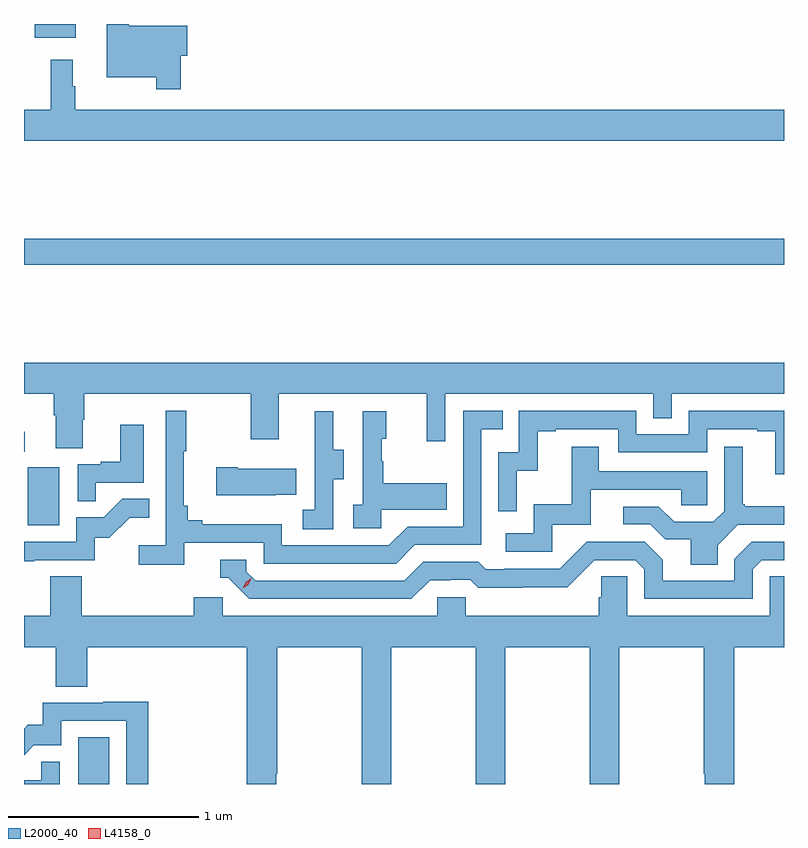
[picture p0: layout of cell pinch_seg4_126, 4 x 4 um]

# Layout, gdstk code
import gdstk
lib = gdstk.Library(unit=1e-6, precision=1e-09)
def R(c, l, rs):  # rectangles x0, y0, x1, y1
    for r in rs: c.add(gdstk.rectangle(r[:2], r[2:], *l))
def P(c, l, *ps):  # polygons
    for p in ps: c.add(gdstk.Polygon(p, *l))
L2000_40 = (2000, 40)
L4158_0 = (4158, 0)

pinch_seg4_126 = lib.new_cell('pinch_seg4_126')
R(pinch_seg4_126, L2000_40, [(1046.036,798.763,1046.2,799.009), (1045.772,800.124,1045.936,800.431), (1045.751,800.511,1045.756,800.617), (1045.751,801.496,1049.751,801.632), (1045.808,802.691,1046.023,802.763)])
P(pinch_seg4_126, L2000_40, [(1046.576,802.595),(1046.611,802.595),(1046.611,802.753),(1046.303,802.753),(1046.303,802.763),(1046.186,802.763),(1046.186,802.484),(1046.448,802.484),(1046.448,802.419),(1046.576,802.419)],
  [(1049.751,802.312),(1046.02,802.312),(1046.02,802.436),(1046.008,802.436),(1046.008,802.576),(1045.891,802.576),(1045.891,802.312),(1045.751,802.312),(1045.751,802.148),(1049.751,802.148)],
  [(1045.751,800.816),(1045.907,800.816),(1045.907,800.704),(1045.919,800.704),(1045.919,800.53),(1046.059,800.53),(1046.059,800.679),(1046.067,800.679),(1046.067,800.816),(1046.944,800.816),(1046.944,800.577),(1047.091,800.577),(1047.091,800.816),(1047.872,800.816),(1047.872,800.568),(1047.969,800.568),(1047.969,800.816),(1049.064,800.816),(1049.064,800.689),(1049.16,800.689),(1049.16,800.816),(1049.751,800.816),(1049.751,800.98),(1045.751,800.98)],
  [(1046.594,800.034),(1047.012,800.034),(1047.012,799.923),(1047.709,799.923),(1047.808,800.022),(1048.158,800.022),(1048.158,800.631),(1048.271,800.631),(1048.271,800.727),(1048.062,800.727),(1048.062,800.118),(1047.771,800.118),(1047.672,800.019),(1047.108,800.019),(1047.108,800.131),(1046.689,800.131),(1046.689,800.15),(1046.612,800.15),(1046.612,800.227),(1046.593,800.227),(1046.593,800.515),(1046.605,800.515),(1046.605,800.728),(1046.496,800.728),(1046.496,800.02),(1046.355,800.02),(1046.355,799.918),(1046.594,799.918)],
  [(1048.344,800.411),(1048.454,800.411),(1048.454,800.619),(1048.549,800.619),(1048.549,800.631),(1048.878,800.631),(1048.878,800.508),(1049.346,800.508),(1049.346,800.631),(1049.609,800.631),(1049.609,800.619),(1049.705,800.619),(1049.705,800.393),(1049.751,800.393),(1049.751,800.727),(1049.25,800.727),(1049.25,800.604),(1048.974,800.604),(1048.974,800.727),(1048.356,800.727),(1048.356,800.508),(1048.248,800.508),(1048.248,800.199),(1048.344,800.199)],
  [(1047.378,800.368),(1047.433,800.368),(1047.433,800.523),(1047.379,800.523),(1047.379,800.725),(1047.281,800.725),(1047.281,800.511),(1047.282,800.511),(1047.282,800.207),(1047.219,800.207),(1047.219,800.104),(1047.378,800.104)],
  [(1047.63,800.207),(1047.977,800.207),(1047.977,800.347),(1047.643,800.347),(1047.643,800.462),(1047.633,800.462),(1047.633,800.58),(1047.658,800.58),(1047.658,800.725),(1047.534,800.725),(1047.534,800.234),(1047.483,800.234),(1047.483,800.109),(1047.63,800.109)],
  [(1046.129,800.349),(1046.38,800.349),(1046.38,800.653),(1046.258,800.653),(1046.258,800.458),(1046.155,800.458),(1046.155,800.445),(1046.034,800.445),(1046.034,800.251),(1046.129,800.251)],
  [(1049.401,800.02),(1049.508,800.127),(1049.751,800.127),(1049.751,800.224),(1049.545,800.224),(1049.545,800.236),(1049.533,800.236),(1049.533,800.539),(1049.436,800.539),(1049.436,800.199),(1049.379,800.142),(1049.173,800.142),(1049.092,800.223),(1048.905,800.223),(1048.905,800.13),(1049.046,800.13),(1049.126,800.05),(1049.261,800.05),(1049.261,799.918),(1049.401,799.918)],
  [(1048.53,800.127),(1048.735,800.127),(1048.735,800.313),(1049.209,800.313),(1049.209,800.229),(1049.346,800.229),(1049.346,800.409),(1048.777,800.409),(1048.777,800.539),(1048.633,800.539),(1048.633,800.236),(1048.434,800.236),(1048.434,800.082),(1048.287,800.082),(1048.287,799.986),(1048.53,799.986)],
  [(1047.077,800.285),(1047.185,800.285),(1047.185,800.422),(1046.875,800.422),(1046.875,800.43),(1046.763,800.43),(1046.763,800.282),(1047.077,800.282)],
  [(1045.805,799.941),(1046.124,799.941),(1046.124,800.058),(1046.2,800.058),(1046.307,800.165),(1046.411,800.165),(1046.411,800.264),(1046.268,800.264),(1046.17,800.166),(1046.025,800.166),(1046.025,800.037),(1045.751,800.037),(1045.751,799.936),(1045.805,799.936)],
  [(1047.889,799.836),(1047.996,799.836),(1047.996,799.839),(1048.099,799.839),(1048.141,799.797),(1048.374,799.797),(1048.374,799.799),(1048.61,799.799),(1048.752,799.941),(1048.968,799.941),(1049.016,799.893),(1049.016,799.737),(1049.586,799.737),(1049.586,799.893),(1049.634,799.941),(1049.751,799.941),(1049.751,800.037),(1049.58,800.037),(1049.49,799.947),(1049.49,799.833),(1049.113,799.833),(1049.113,799.943),(1049.019,800.037),(1048.713,800.037),(1048.572,799.896),(1048.279,799.896),(1048.279,799.893),(1048.18,799.893),(1048.141,799.932),(1047.852,799.932),(1047.753,799.833),(1046.97,799.833),(1046.922,799.881),(1046.922,799.944),(1046.783,799.944),(1046.783,799.848),(1046.826,799.848),(1046.937,799.737),(1047.79,799.737)],
  [(1047.079,798.817),(1047.084,798.817),(1047.084,799.484),(1047.529,799.484),(1047.529,798.763),(1047.684,798.763),(1047.684,799.484),(1048.129,799.484),(1048.129,798.763),(1048.284,798.763),(1048.284,799.484),(1048.729,799.484),(1048.729,798.763),(1048.884,798.763),(1048.884,799.484),(1049.329,799.484),(1049.329,798.817),(1049.333,798.817),(1049.333,798.763),(1049.489,798.763),(1049.489,799.484),(1049.751,799.484),(1049.751,799.856),(1049.676,799.856),(1049.676,799.648),(1048.926,799.648),(1048.926,799.856),(1048.789,799.856),(1048.789,799.746),(1048.775,799.746),(1048.775,799.648),(1048.077,799.648),(1048.077,799.746),(1047.927,799.746),(1047.927,799.648),(1046.796,799.648),(1046.796,799.746),(1046.645,799.746),(1046.645,799.648),(1046.054,799.648),(1046.054,799.856),(1045.889,799.856),(1045.889,799.648),(1045.751,799.648),(1045.751,799.484),(1045.919,799.484),(1045.919,799.276),(1046.084,799.276),(1046.084,799.484),(1046.924,799.484),(1046.924,798.763),(1047.079,798.763)],
  [(1046.405,799.196),(1046.167,799.196),(1046.167,799.191),(1045.849,799.191),(1045.849,799.074),(1045.772,799.074),(1045.751,799.053),(1045.751,798.915),(1045.802,798.966),(1045.947,798.966),(1045.947,799.095),(1046.289,799.095),(1046.289,798.763),(1046.405,798.763)],
  [(1045.938,798.881),(1045.843,798.881),(1045.843,798.783),(1045.751,798.783),(1045.751,798.763),(1045.938,798.763)])
P(pinch_seg4_126, L4158_0, [(1046.901,799.793),(1046.901,799.794),(1046.917,799.826),(1046.947,799.845),(1046.948,799.845),(1046.948,799.845),(1046.932,799.813),(1046.901,799.793)])

lib.write_gds('pinch_seg4_126.gds')
